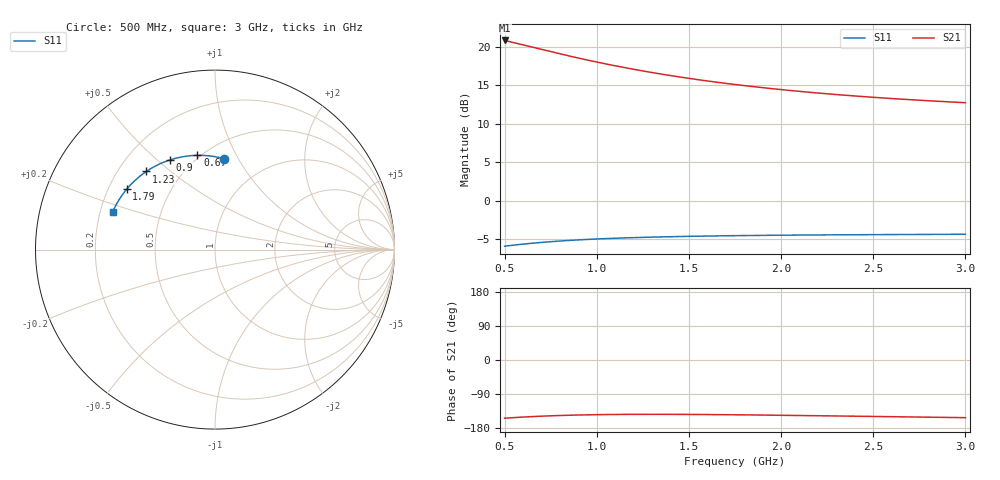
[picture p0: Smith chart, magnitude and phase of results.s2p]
! rfsim (KiCad + openEMS)
# HZ S RI R 50
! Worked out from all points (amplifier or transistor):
!   251 points, 500 MHz to 3 GHz, reference 50 ohm
!   highest |S21| = 20.8 dB at 500 MHz (marker M1)
!   |S21| within 3 dB of that: start of sweep to 1.04 GHz
!   S11 on the Smith chart (normalised r, x): 500 MHz: 0.64, +0.88; 670 MHz: 0.48, +0.71; 900 MHz: 0.38, +0.55; 1.23 GHz: 0.32, +0.41; 1.79 GHz: 0.28, +0.29; 3 GHz: 0.25, +0.17
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5e8  0.0523 0.5061  -9.853 -4.891  0 0  0 0
5.4e8  0.014 0.5152  -9.483 -4.979  0 0  0 0
5.8e8  -0.0227 0.5212  -9.128 -5.037  0 0  0 0
6.7e8  -0.0985 0.5252  -8.396 -5.076  0 0  0 0
7.2e8  -0.1363 0.5231  -8.03 -5.056  0 0  0 0
7.8e8  -0.1779 0.5177  -7.628 -5.003  0 0  0 0
8.4e8  -0.2154 0.5098  -7.265 -4.926  0 0  0 0
9e8  -0.2492 0.5001  -6.939 -4.833  0 0  0 0
9.2e8  -0.2597 0.4966  -6.837 -4.8  0 0  0 0
9.9e8  -0.2936 0.4836  -6.509 -4.674  0 0  0 0
1.07e9  -0.3275 0.4678  -6.182 -4.521  0 0  0 0
1.15e9  -0.357 0.4516  -5.897 -4.364  0 0  0 0
1.23e9  -0.3826 0.4353  -5.65 -4.207  0 0  0 0
1.34e9  -0.4125 0.4135  -5.361 -3.996  0 0  0 0
1.43e9  -0.4333 0.3964  -5.16 -3.831  0 0  0 0
1.53e9  -0.4531 0.3783  -4.969 -3.655  0 0  0 0
1.75e9  -0.4873 0.342  -4.638 -3.305  0 0  0 0
1.79e9  -0.4924 0.336  -4.588 -3.246  0 0  0 0
1.97e9  -0.5122 0.3106  -4.397 -3.001  0 0  0 0
2.17e9  -0.5294 0.2857  -4.231 -2.76  0 0  0 0
2.59e9  -0.5545 0.2427  -3.989 -2.344  0 0  0 0
3e9  -0.5701 0.2099  -3.837 -2.027  0 0  0 0
